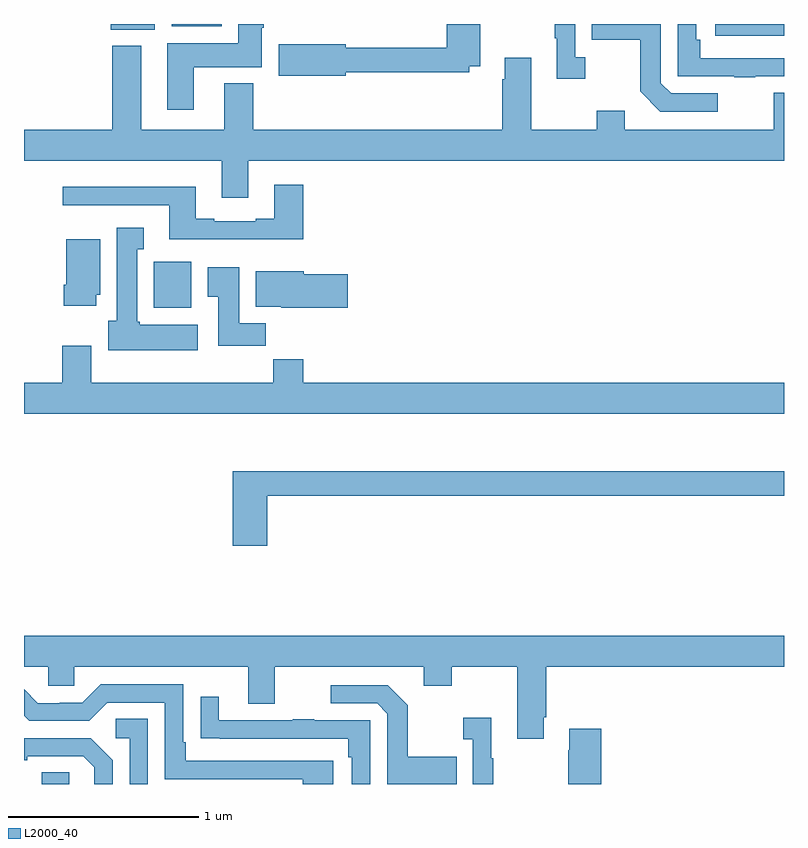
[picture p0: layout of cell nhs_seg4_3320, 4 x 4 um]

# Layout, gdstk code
import gdstk
lib = gdstk.Library(unit=1e-6, precision=1e-09)
def R(c, l, rs):  # rectangles x0, y0, x1, y1
    for r in rs: c.add(gdstk.rectangle(r[:2], r[2:], *l))
def P(c, l, *ps):  # polygons
    for p in ps: c.add(gdstk.Polygon(p, *l))
L2000_40 = (2000, 40)

nhs_seg4_3320 = lib.new_cell('nhs_seg4_3320')
R(nhs_seg4_3320, L2000_40, [(287.093,766.9,287.238,766.961), (287.684,769.406,287.881,769.648), (290.637,770.838,291,770.9), (287.456,770.87,287.689,770.9), (287.777,770.888,288.04,770.9)])
P(nhs_seg4_3320, L2000_40, [(287.893,770.672),(288.25,770.672),(288.25,770.881),(288.263,770.881),(288.263,770.9),(288.128,770.9),(288.128,770.8),(287.753,770.8),(287.753,770.448),(287.893,770.448)],
  [(288.694,770.646),(289.344,770.646),(289.344,770.678),(289.401,770.678),(289.401,770.9),(289.226,770.9),(289.226,770.774),(288.694,770.774),(288.694,770.793),(288.342,770.793),(288.342,770.627),(288.694,770.627)],
  [(290.65,770.535),(290.406,770.535),(290.352,770.589),(290.352,770.9),(289.987,770.9),(289.987,770.818),(290.244,770.818),(290.244,770.545),(290.349,770.439),(290.65,770.439)],
  [(290.849,770.625),(291,770.625),(291,770.721),(290.558,770.721),(290.558,770.818),(290.538,770.818),(290.538,770.9),(290.442,770.9),(290.442,770.625),(290.737,770.625),(290.737,770.62),(290.849,770.62)],
  [(289.954,770.726),(289.902,770.726),(289.902,770.9),(289.794,770.9),(289.794,770.825),(289.805,770.825),(289.805,770.613),(289.954,770.613)],
  [(288.181,770.18),(291,770.18),(291,770.539),(290.945,770.539),(290.945,770.344),(290.161,770.344),(290.161,770.443),(290.014,770.443),(290.014,770.344),(289.669,770.344),(289.669,770.722),(289.529,770.722),(289.529,770.609),(289.517,770.609),(289.517,770.344),(288.206,770.344),(288.206,770.587),(288.053,770.587),(288.053,770.344),(287.617,770.344),(287.617,770.785),(287.465,770.785),(287.465,770.344),(287,770.344),(287,770.18),(288.041,770.18),(288.041,769.986),(288.181,769.986)],
  [(288.47,770.053),(288.317,770.053),(288.317,769.876),(288.221,769.876),(288.221,769.863),(288.001,769.863),(288.001,769.876),(287.905,769.876),(287.905,770.044),(287.205,770.044),(287.205,769.947),(287.765,769.947),(287.765,769.766),(288.47,769.766)],
  [(287.914,769.318),(287.61,769.318),(287.61,769.332),(287.596,769.332),(287.596,769.715),(287.629,769.715),(287.629,769.828),(287.489,769.828),(287.489,769.338),(287.444,769.338),(287.444,769.184),(287.914,769.184)],
  [(287.38,769.476),(287.401,769.476),(287.401,769.768),(287.222,769.768),(287.222,769.528),(287.21,769.528),(287.21,769.416),(287.38,769.416)],
  [(288.272,769.324),(288.133,769.324),(288.133,769.621),(287.966,769.621),(287.966,769.465),(288.023,769.465),(288.023,769.206),(288.272,769.206)],
  [(288.703,769.583),(288.472,769.583),(288.472,769.6),(288.221,769.6),(288.221,769.412),(288.354,769.412),(288.354,769.406),(288.703,769.406)],
  [(291,769.012),(288.47,769.012),(288.47,769.136),(288.313,769.136),(288.313,769.012),(287.353,769.012),(287.353,769.207),(287.201,769.207),(287.201,769.012),(287,769.012),(287,768.848),(291,768.848)],
  [(288.281,768.418),(291,768.418),(291,768.547),(288.098,768.547),(288.098,768.153),(288.281,768.153)],
  [(289.735,767.251),(289.748,767.251),(289.748,767.516),(291,767.516),(291,767.68),(287,767.68),(287,767.516),(287.127,767.516),(287.127,767.418),(287.265,767.418),(287.265,767.516),(288.179,767.516),(288.179,767.322),(288.319,767.322),(288.319,767.516),(289.103,767.516),(289.103,767.417),(289.251,767.417),(289.251,767.516),(289.595,767.516),(289.595,767.139),(289.735,767.139)],
  [(288.628,767.022),(287.851,767.022),(287.851,767.119),(287.838,767.119),(287.838,767.424),(287.403,767.424),(287.307,767.328),(287.189,767.328),(287.189,767.325),(287.073,767.325),(287,767.398),(287,767.26),(287.028,767.232),(287.343,767.232),(287.439,767.328),(287.742,767.328),(287.742,766.926),(288.467,766.926),(288.467,766.9),(288.628,766.9)],
  [(289.277,767.043),(289.021,767.043),(289.021,767.315),(288.915,767.421),(288.615,767.421),(288.615,767.325),(288.858,767.325),(288.912,767.271),(288.912,766.9),(289.277,766.9)],
  [(288.822,767.235),(288.527,767.235),(288.527,767.24),(288.415,767.24),(288.415,767.235),(288.025,767.235),(288.025,767.359),(287.929,767.359),(287.929,767.14),(288.031,767.14),(288.031,767.139),(288.706,767.139),(288.706,767.042),(288.726,767.042),(288.726,766.9),(288.822,766.9)],
  [(289.471,767.035),(289.459,767.035),(289.459,767.248),(289.311,767.248),(289.311,767.135),(289.362,767.135),(289.362,766.9),(289.471,766.9)],
  [(287.652,767.243),(287.484,767.243),(287.484,767.142),(287.556,767.142),(287.556,766.9),(287.652,766.9)],
  [(290.039,767.191),(289.871,767.191),(289.871,767.078),(289.864,767.078),(289.864,766.9),(290.039,766.9)],
  [(287.466,767.026),(287.35,767.142),(287,767.142),(287,767.024),(287.017,767.024),(287.017,767.046),(287.312,767.046),(287.369,766.989),(287.369,766.9),(287.466,766.9)])

lib.write_gds('nhs_seg4_3320.gds')
